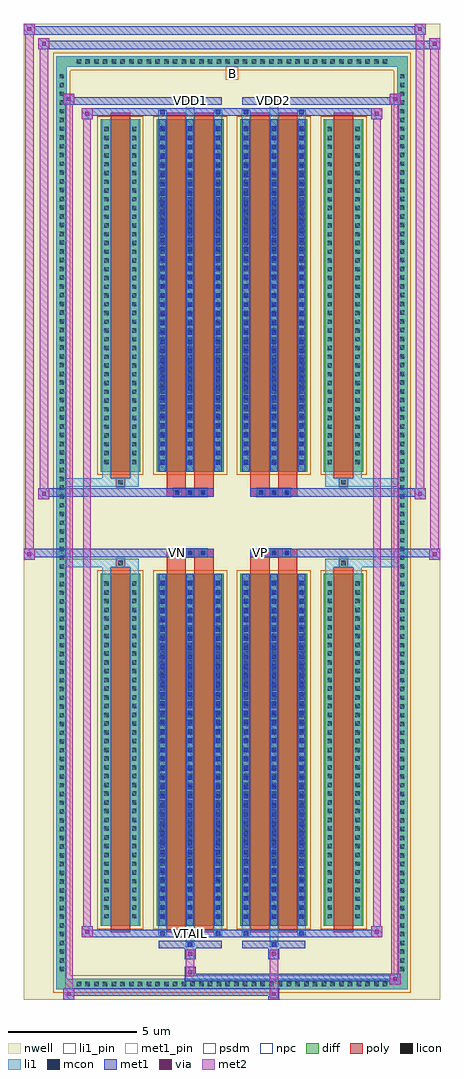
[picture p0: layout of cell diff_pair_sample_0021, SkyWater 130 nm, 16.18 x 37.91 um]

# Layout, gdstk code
import gdstk
lib = gdstk.Library(unit=1e-6, precision=5e-09)
def R(c, l, rs):  # rectangles x0, y0, x1, y1
    for r in rs: c.add(gdstk.rectangle(r[:2], r[2:], *l))
def A(c, l, x, y, w, h, nx, ny, dx, dy):  # array of equal rectangles
    R(c, l, [(x+i*dx, y+j*dy, x+i*dx+w, y+j*dy+h) for i in range(nx) for j in range(ny)])
def P(c, l, *ps):  # polygons
    for p in ps: c.add(gdstk.Polygon(p, *l))
nwell = (64, 20)
diff = (65, 20)
poly = (66, 20)
licon = (66, 44)
li1_pin = (67, 16)
li1 = (67, 20)
mcon = (67, 44)
met1_pin = (68, 16)
met1 = (68, 20)
via = (68, 44)
met2 = (69, 20)
psdm = (94, 20)
npc = (95, 20)

diff_pair_sample_0021 = lib.new_cell('diff_pair_sample_0021')
R(diff_pair_sample_0021, nwell, [(-8.09,-18.52,8.09,19.39), (-5.41,-16.71,-0.01,-0.805), (0.01,-16.71,5.41,-0.805), (-5.41,0.805,-0.01,16.71), (0.01,0.805,5.41,16.71)])
A(diff_pair_sample_0021, diff, -6.155, -18.12, 0.41, 0.41, 36, 2, 0.34, 35.83)
A(diff_pair_sample_0021, diff, -6.82, -17.545, 0.41, 0.41, 1, 103, 0, 0.34)
A(diff_pair_sample_0021, diff, 6.41, -17.545, 0.41, 0.41, 1, 103, 0, 0.34)
R(diff_pair_sample_0021, diff, [(-6.155,-18.12,6.155,-17.71), (-6.82,-17.545,-6.41,17.545), (6.41,-17.545,6.82,17.545), (-5.1,-15.665,-3.57,-1.985), (-2.93,-15.665,-0.32,-1.985), (0.32,-15.665,2.93,-1.985), (3.57,-15.665,5.1,-1.985), (-5.1,1.985,-3.57,15.665), (-2.93,1.985,-0.32,15.665), (0.32,1.985,2.93,15.665), (3.57,1.985,5.1,15.665), (-6.155,17.71,6.155,18.12)])
P(diff_pair_sample_0021, diff, [(6.82,18.12),(-6.82,18.12),(-6.82,-17.71),(-6.41,-17.71),(-6.41,17.71),(6.41,17.71),(6.41,-17.71),(-6.41,-17.71),(-6.82,-17.71),(-6.82,-18.12),(6.82,-18.12)])
A(diff_pair_sample_0021, poly, -2.29, -1.335, 0.33, 0.33, 3, 2, 0.5, 2.34)
A(diff_pair_sample_0021, poly, 0.96, -1.335, 0.33, 0.33, 3, 2, 0.5, 2.34)
R(diff_pair_sample_0021, poly, [(-4.71,-15.915,-3.96,-1.735), (-2.54,-15.915,-1.79,-1.735), (-1.46,-15.915,-0.71,-1.735), (0.71,-15.915,1.46,-1.735), (1.79,-15.915,2.54,-1.735), (3.96,-15.915,4.71,-1.735), (-4.5,-1.735,-4.17,-1.405), (-4.5,-1.735,-4.17,-1.405), (-2.54,-1.735,-1.79,-1.335), (-1.46,-1.735,-0.71,-1.335), (0.71,-1.735,1.46,-1.335), (1.79,-1.735,2.54,-1.335), (4.17,-1.735,4.5,-1.405), (4.17,-1.735,4.5,-1.405), (-2.54,-1.335,-0.71,-1.005), (0.71,-1.335,2.54,-1.005), (-2.54,1.005,-0.71,1.335), (0.71,1.005,2.54,1.335), (-2.54,1.335,-1.79,1.735), (-1.46,1.335,-0.71,1.735), (0.71,1.335,1.46,1.735), (1.79,1.335,2.54,1.735), (-4.5,1.405,-4.17,1.735), (-4.5,1.405,-4.17,1.735), (4.17,1.405,4.5,1.735), (4.17,1.405,4.5,1.735), (-4.71,1.735,-3.96,15.915), (-2.54,1.735,-1.79,15.915), (-1.46,1.735,-0.71,15.915), (0.71,1.735,1.46,15.915), (1.79,1.735,2.54,15.915), (3.96,1.735,4.71,15.915)])
A(diff_pair_sample_0021, licon, -6.035, -18, 0.17, 0.17, 36, 2, 0.34, 35.83)
A(diff_pair_sample_0021, licon, -6.7, -17.425, 0.17, 0.17, 1, 103, 0, 0.34)
A(diff_pair_sample_0021, licon, 6.53, -17.425, 0.17, 0.17, 1, 103, 0, 0.34)
A(diff_pair_sample_0021, licon, -4.96, -15.37, 0.17, 0.17, 1, 39, 0, 0.34)
A(diff_pair_sample_0021, licon, -3.88, -15.37, 0.17, 0.17, 1, 39, 0, 0.34)
A(diff_pair_sample_0021, licon, -2.79, -15.37, 0.17, 0.17, 3, 39, 1.08, 0.34)
A(diff_pair_sample_0021, licon, 0.46, -15.37, 0.17, 0.17, 3, 39, 1.08, 0.34)
A(diff_pair_sample_0021, licon, 3.71, -15.37, 0.17, 0.17, 1, 39, 0, 0.34)
A(diff_pair_sample_0021, licon, 4.79, -15.37, 0.17, 0.17, 1, 39, 0, 0.34)
A(diff_pair_sample_0021, licon, -2.21, -1.255, 0.17, 0.17, 3, 2, 0.5, 2.34)
A(diff_pair_sample_0021, licon, 1.04, -1.255, 0.17, 0.17, 3, 2, 0.5, 2.34)
A(diff_pair_sample_0021, licon, -4.96, 2.28, 0.17, 0.17, 1, 39, 0, 0.34)
A(diff_pair_sample_0021, licon, -3.88, 2.28, 0.17, 0.17, 1, 39, 0, 0.34)
A(diff_pair_sample_0021, licon, -2.79, 2.28, 0.17, 0.17, 3, 39, 1.08, 0.34)
A(diff_pair_sample_0021, licon, 0.46, 2.28, 0.17, 0.17, 3, 39, 1.08, 0.34)
A(diff_pair_sample_0021, licon, 3.71, 2.28, 0.17, 0.17, 1, 39, 0, 0.34)
A(diff_pair_sample_0021, licon, 4.79, 2.28, 0.17, 0.17, 1, 39, 0, 0.34)
R(diff_pair_sample_0021, licon, [(-4.42,-1.655,-4.25,-1.485), (4.25,-1.655,4.42,-1.485), (-4.42,1.485,-4.25,1.655), (4.25,1.485,4.42,1.655)])
R(diff_pair_sample_0021, li1_pin, [(-0.25,17.21,0.25,17.71)])
A(diff_pair_sample_0021, li1, -6.115, -18.08, 0.33, 0.33, 36, 2, 0.34, 35.83)
A(diff_pair_sample_0021, li1, -6.78, -17.505, 0.33, 0.33, 1, 103, 0, 0.34)
A(diff_pair_sample_0021, li1, 6.45, -17.505, 0.33, 0.33, 1, 103, 0, 0.34)
A(diff_pair_sample_0021, li1, -2.87, -15.665, 0.33, 13.68, 3, 2, 1.08, 17.65)
A(diff_pair_sample_0021, li1, 0.38, -15.665, 0.33, 13.68, 3, 2, 1.08, 17.65)
A(diff_pair_sample_0021, li1, -5.04, -15.45, 0.33, 0.33, 1, 39, 0, 0.34)
A(diff_pair_sample_0021, li1, -3.96, -15.45, 0.33, 0.33, 1, 39, 0, 0.34)
A(diff_pair_sample_0021, li1, -2.87, -15.45, 0.33, 0.33, 3, 39, 1.08, 0.34)
A(diff_pair_sample_0021, li1, 0.38, -15.45, 0.33, 0.33, 3, 39, 1.08, 0.34)
A(diff_pair_sample_0021, li1, 3.63, -15.45, 0.33, 0.33, 1, 39, 0, 0.34)
A(diff_pair_sample_0021, li1, 4.71, -15.45, 0.33, 0.33, 1, 39, 0, 0.34)
A(diff_pair_sample_0021, li1, -2.79, -15.39, 0.17, 0.17, 3, 37, 1.08, 0.36)
A(diff_pair_sample_0021, li1, -2.79, -15.39, 0.17, 13.13, 3, 2, 1.08, 17.65)
A(diff_pair_sample_0021, li1, 0.46, -15.39, 0.17, 0.17, 3, 37, 1.08, 0.36)
A(diff_pair_sample_0021, li1, 0.46, -15.39, 0.17, 13.13, 3, 2, 1.08, 17.65)
A(diff_pair_sample_0021, li1, -2.29, -1.335, 0.33, 0.33, 3, 2, 0.5, 2.34)
A(diff_pair_sample_0021, li1, 0.96, -1.335, 0.33, 0.33, 3, 2, 0.5, 2.34)
A(diff_pair_sample_0021, li1, -5.04, 2.2, 0.33, 0.33, 1, 39, 0, 0.34)
A(diff_pair_sample_0021, li1, -3.96, 2.2, 0.33, 0.33, 1, 39, 0, 0.34)
A(diff_pair_sample_0021, li1, -2.87, 2.2, 0.33, 0.33, 3, 39, 1.08, 0.34)
A(diff_pair_sample_0021, li1, 0.38, 2.2, 0.33, 0.33, 3, 39, 1.08, 0.34)
A(diff_pair_sample_0021, li1, 3.63, 2.2, 0.33, 0.33, 1, 39, 0, 0.34)
A(diff_pair_sample_0021, li1, 4.71, 2.2, 0.33, 0.33, 1, 39, 0, 0.34)
A(diff_pair_sample_0021, li1, -2.79, 2.26, 0.17, 0.17, 3, 37, 1.08, 0.36)
A(diff_pair_sample_0021, li1, 0.46, 2.26, 0.17, 0.17, 3, 37, 1.08, 0.36)
R(diff_pair_sample_0021, li1, [(-6.82,-18.12,-6.41,-17.71), (-6.82,-18.12,-6.41,-17.71), (-6.41,-18.12,6.41,-17.71), (6.41,-18.12,6.82,-17.71), (6.41,-18.12,6.82,-17.71), (-6.82,-17.71,-6.41,17.71), (6.41,-17.71,6.82,17.71), (-1.79,-16.47,-1.46,-15.665), (-1.71,-16.47,-1.54,-16.3), (1.46,-16.47,1.79,-15.665), (1.54,-16.47,1.71,-16.3), (-2.87,-16.04,-2.54,-15.665), (-2.79,-16.04,-2.62,-15.87), (-0.71,-16.04,-0.38,-15.665), (-0.63,-16.04,-0.46,-15.87), (0.38,-16.04,0.71,-15.665), (0.46,-16.04,0.63,-15.87), (2.54,-16.04,2.87,-15.665), (2.62,-16.04,2.79,-15.87), (-5.04,-15.665,-4.71,-1.985), (-3.96,-15.665,-3.63,-1.985), (3.63,-15.665,3.96,-1.985), (4.71,-15.665,5.04,-1.985), (-5.04,-1.985,-4.71,-1.405), (-3.96,-1.985,-3.63,-1.405), (3.63,-1.985,3.96,-1.405), (4.71,-1.985,5.04,-1.405), (-6.82,-1.735,-4.5,-1.405), (-5.04,-1.735,-4.5,-1.405), (-4.5,-1.735,-4.17,-1.405), (-4.17,-1.735,-3.63,-1.405), (3.63,-1.735,4.17,-1.405), (4.17,-1.735,4.5,-1.405), (4.17,-1.735,6.82,-1.405), (4.5,-1.735,5.04,-1.405), (-6.82,1.405,-4.5,1.735), (-5.04,1.405,-4.5,1.735), (-5.04,1.405,-4.71,1.985), (-4.5,1.405,-4.17,1.735), (-4.17,1.405,-3.63,1.735), (-3.96,1.405,-3.63,1.985), (3.63,1.405,4.17,1.735), (3.63,1.405,3.96,1.985), (4.17,1.405,4.5,1.735), (4.17,1.405,6.82,1.735), (4.5,1.405,5.04,1.735), (4.71,1.405,5.04,1.985), (-5.04,1.985,-4.71,15.665), (-3.96,1.985,-3.63,15.665), (3.63,1.985,3.96,15.665), (4.71,1.985,5.04,15.665), (-2.87,15.665,-2.54,16.04), (-1.79,15.665,-1.46,16.47), (-0.71,15.665,-0.38,16.04), (0.38,15.665,0.71,16.04), (1.46,15.665,1.79,16.47), (2.54,15.665,2.87,16.04), (-2.79,15.87,-2.62,16.04), (-0.63,15.87,-0.46,16.04), (0.46,15.87,0.63,16.04), (2.62,15.87,2.79,16.04), (-1.71,16.3,-1.54,16.47), (1.54,16.3,1.71,16.47), (-6.82,17.71,-6.41,18.12), (-6.82,17.71,-6.41,18.12), (-6.41,17.71,6.41,18.12), (6.41,17.71,6.82,18.12), (6.41,17.71,6.82,18.12)])
A(diff_pair_sample_0021, mcon, -2.79, -15.39, 0.17, 0.17, 3, 37, 1.08, 0.36)
A(diff_pair_sample_0021, mcon, 0.46, -15.39, 0.17, 0.17, 3, 37, 1.08, 0.36)
A(diff_pair_sample_0021, mcon, -2.21, -1.255, 0.17, 0.17, 3, 2, 0.5, 2.34)
A(diff_pair_sample_0021, mcon, 1.04, -1.255, 0.17, 0.17, 3, 2, 0.5, 2.34)
A(diff_pair_sample_0021, mcon, -2.79, 2.26, 0.17, 0.17, 3, 37, 1.08, 0.36)
A(diff_pair_sample_0021, mcon, 0.46, 2.26, 0.17, 0.17, 3, 37, 1.08, 0.36)
R(diff_pair_sample_0021, mcon, [(-1.71,-16.47,-1.54,-16.3), (1.54,-16.47,1.71,-16.3), (-2.79,-16.04,-2.62,-15.87), (-0.63,-16.04,-0.46,-15.87), (0.46,-16.04,0.63,-15.87), (2.62,-16.04,2.79,-15.87), (-2.79,15.87,-2.62,16.04), (-0.63,15.87,-0.46,16.04), (0.46,15.87,0.63,16.04), (2.62,15.87,2.79,16.04), (-1.71,16.3,-1.54,16.47), (1.54,16.3,1.71,16.47)])
R(diff_pair_sample_0021, met1_pin, [(-1.76,-16.08,-1.49,-15.81), (-2.26,-1.295,-1.99,-1.025), (0.99,-1.295,1.26,-1.025), (-1.76,16.26,-1.49,16.53), (1.49,16.26,1.76,16.53)])
A(diff_pair_sample_0021, met1, -2.85, -15.665, 0.29, 13.68, 3, 2, 1.08, 17.65)
A(diff_pair_sample_0021, met1, 0.4, -15.665, 0.29, 13.68, 3, 2, 1.08, 17.65)
A(diff_pair_sample_0021, met1, -2.85, -15.45, 0.29, 0.29, 3, 37, 1.08, 0.36)
A(diff_pair_sample_0021, met1, 0.4, -15.45, 0.29, 0.29, 3, 37, 1.08, 0.36)
A(diff_pair_sample_0021, met1, -2.27, -1.315, 0.29, 0.29, 3, 2, 0.5, 2.34)
A(diff_pair_sample_0021, met1, 0.98, -1.315, 0.29, 0.29, 3, 2, 0.5, 2.34)
A(diff_pair_sample_0021, met1, -2.85, 2.2, 0.29, 0.29, 3, 37, 1.08, 0.36)
A(diff_pair_sample_0021, met1, 0.4, 2.2, 0.29, 0.29, 3, 37, 1.08, 0.36)
R(diff_pair_sample_0021, met1, [(-6.55,-18.52,-6.12,-18.09), (1.41,-18.52,1.84,-18.09), (-6.55,-18.38,1.84,-18.09), (6.12,-17.95,6.55,-17.52), (-1.84,-17.81,6.55,-17.52), (-1.84,-17.67,-1.41,-17.24), (-1.84,-16.96,-1.41,-16.53), (1.41,-16.96,1.84,-16.53), (-2.85,-16.53,-0.4,-16.24), (-1.77,-16.53,-1.48,-16.24), (0.4,-16.53,2.85,-16.24), (1.48,-16.53,1.77,-16.24), (-5.84,-16.1,-5.41,-15.67), (-5.84,-16.1,-2.85,-15.81), (-2.85,-16.1,-2.56,-15.81), (-2.85,-16.1,-0.4,-15.81), (-0.69,-16.1,-0.4,-15.81), (-0.4,-16.1,0.4,-15.81), (0.4,-16.1,0.69,-15.81), (0.4,-16.1,2.85,-15.81), (2.56,-16.1,2.85,-15.81), (2.85,-16.1,5.84,-15.81), (5.41,-16.1,5.84,-15.67), (-8.09,-1.435,-7.66,-1.005), (7.66,-1.435,8.09,-1.005), (-8.09,-1.335,-0.71,-1.005), (-2.54,-1.335,-0.71,-1.005), (0.71,-1.335,2.54,-1.005), (0.71,-1.335,8.09,-1.005), (-7.52,0.905,-7.09,1.335), (7.09,0.905,7.52,1.335), (-7.52,1.005,-2.54,1.335), (-2.54,1.005,-0.71,1.335), (0.71,1.005,2.54,1.335), (2.54,1.005,7.52,1.335), (-5.84,15.67,-5.41,16.1), (5.41,15.67,5.84,16.1), (-5.84,15.81,-2.85,16.1), (-2.85,15.81,-2.56,16.1), (-2.85,15.81,-0.4,16.1), (-0.69,15.81,-0.4,16.1), (-0.4,15.81,0.4,16.1), (0.4,15.81,0.69,16.1), (0.4,15.81,2.85,16.1), (2.56,15.81,2.85,16.1), (2.85,15.81,5.84,16.1), (-6.55,16.24,-6.12,16.67), (-6.55,16.24,-2.85,16.53), (-2.85,16.24,-0.4,16.53), (-1.77,16.24,-1.48,16.53), (0.4,16.24,2.85,16.53), (1.48,16.24,1.77,16.53), (2.85,16.24,6.55,16.53), (6.12,16.24,6.55,16.67), (-7.52,18.39,-7.09,18.82), (-7.52,18.39,-5.41,18.72), (-5.41,18.39,5.41,18.72), (5.41,18.39,8.09,18.72), (7.66,18.39,8.09,18.82), (-8.09,18.96,-7.66,19.39), (-8.09,18.96,-5.41,19.29), (-5.41,18.96,5.41,19.29), (5.41,18.96,7.52,19.29), (7.09,18.96,7.52,19.39)])
R(diff_pair_sample_0021, via, [(-6.41,-18.38,-6.26,-18.23), (1.55,-18.38,1.7,-18.23), (6.26,-17.81,6.41,-17.66), (-1.7,-17.53,-1.55,-17.38), (-1.7,-16.82,-1.55,-16.67), (1.55,-16.82,1.7,-16.67), (-5.7,-15.96,-5.55,-15.81), (5.55,-15.96,5.7,-15.81), (-7.95,-1.295,-7.8,-1.145), (7.8,-1.295,7.95,-1.145), (-7.38,1.045,-7.23,1.195), (7.23,1.045,7.38,1.195), (-5.7,15.81,-5.55,15.96), (5.55,15.81,5.7,15.96), (-6.41,16.38,-6.26,16.53), (6.26,16.38,6.41,16.53), (-7.38,18.53,-7.23,18.68), (7.8,18.53,7.95,18.68), (-7.95,19.1,-7.8,19.25), (7.23,19.1,7.38,19.25)])
R(diff_pair_sample_0021, met2, [(-6.55,-18.52,-6.12,-18.09), (-6.48,-18.52,-6.19,16.67), (-6.19,-18.52,-6.12,-18.09), (-6.5,-18.47,-6.17,-18.14), (1.46,-18.47,1.79,-18.14), (1.46,-18.14,1.79,-16.91), (6.12,-17.95,6.55,-17.52), (6.19,-17.95,6.48,16.67), (6.48,-17.95,6.55,-17.52), (6.17,-17.9,6.5,-17.57), (-1.79,-17.62,-1.46,-17.29), (-1.79,-17.29,-1.46,-16.91), (-1.79,-16.91,-1.46,-16.58), (1.46,-16.91,1.79,-16.58), (-5.84,-16.1,-5.41,-15.67), (-5.77,-16.1,-5.48,16.1), (-5.48,-16.1,-5.41,-15.67), (5.41,-16.1,5.84,-15.67), (5.48,-16.1,5.77,16.1), (5.77,-16.1,5.84,-15.67), (-5.79,-16.05,-5.46,-15.72), (5.46,-16.05,5.79,-15.72), (-8.09,-1.435,-7.66,-1.005), (-8.04,-1.435,-7.71,19.39), (-7.71,-1.435,-7.66,-1.005), (7.66,-1.435,8.09,-1.005), (7.71,-1.435,8.04,18.82), (8.04,-1.435,8.09,-1.005), (-8.04,-1.385,-7.71,-1.055), (7.71,-1.385,8.04,-1.055), (-7.52,0.905,-7.09,1.335), (-7.47,0.905,-7.14,18.82), (-7.14,0.905,-7.09,1.335), (7.09,0.905,7.52,1.335), (7.14,0.905,7.47,19.39), (7.47,0.905,7.52,1.335), (-7.47,0.955,-7.14,1.285), (7.14,0.955,7.47,1.285), (-5.84,15.67,-5.41,16.1), (-5.48,15.67,-5.41,16.1), (5.41,15.67,5.84,16.1), (5.77,15.67,5.84,16.1), (-5.79,15.72,-5.46,16.05), (5.46,15.72,5.79,16.05), (-6.55,16.24,-6.12,16.67), (-6.19,16.24,-6.12,16.67), (6.12,16.24,6.55,16.67), (6.48,16.24,6.55,16.67), (-6.5,16.29,-6.17,16.62), (6.17,16.29,6.5,16.62), (-7.52,18.39,-7.09,18.82), (-7.14,18.39,-7.09,18.82), (7.66,18.39,8.09,18.82), (8.04,18.39,8.09,18.82), (-7.47,18.44,-7.14,18.77), (7.71,18.44,8.04,18.77), (-8.09,18.96,-7.66,19.39), (-7.71,18.96,-7.66,19.39), (7.09,18.96,7.52,19.39), (7.47,18.96,7.52,19.39), (-8.04,19.01,-7.71,19.34), (7.14,19.01,7.47,19.34)])
R(diff_pair_sample_0021, psdm, [(-5.23,-15.795,-3.44,-1.855), (-3.06,-15.795,-0.19,-1.855), (0.19,-15.795,3.06,-1.855), (3.44,-15.795,5.23,-1.855), (-5.23,1.855,-3.44,15.795), (-3.06,1.855,-0.19,15.795), (0.19,1.855,3.06,15.795), (3.44,1.855,5.23,15.795)])
P(diff_pair_sample_0021, psdm, [(6.95,18.25),(-6.95,18.25),(-6.95,-17.58),(-6.28,-17.58),(-6.28,17.58),(6.28,17.58),(6.28,-17.58),(-6.28,-17.58),(-6.95,-17.58),(-6.95,-18.25),(6.95,-18.25)])
A(diff_pair_sample_0021, npc, -2.31, -1.355, 0.37, 0.37, 3, 2, 0.5, 2.34)
A(diff_pair_sample_0021, npc, 0.94, -1.355, 0.37, 0.37, 3, 2, 0.5, 2.34)
R(diff_pair_sample_0021, npc, [(-4.52,-1.755,-4.15,-1.385), (4.15,-1.755,4.52,-1.385), (-2.31,-1.355,-1.44,-0.985), (-2.31,-1.355,-1.44,-0.985), (-1.81,-1.355,-0.94,-0.985), (-1.81,-1.355,-0.94,-0.985), (0.94,-1.355,1.81,-0.985), (0.94,-1.355,1.81,-0.985), (1.44,-1.355,2.31,-0.985), (1.44,-1.355,2.31,-0.985), (-2.31,0.985,-1.44,1.355), (-2.31,0.985,-1.44,1.355), (-1.81,0.985,-0.94,1.355), (-1.81,0.985,-0.94,1.355), (0.94,0.985,1.81,1.355), (0.94,0.985,1.81,1.355), (1.44,0.985,2.31,1.355), (1.44,0.985,2.31,1.355), (-4.52,1.385,-4.15,1.755), (4.15,1.385,4.52,1.755)])
diff_pair_sample_0021.add(gdstk.Label('VTAIL', (-1.625,-15.945), layer=68, texttype=5))
diff_pair_sample_0021.add(gdstk.Label('VN', (-2.125,-1.16), layer=68, texttype=5))
diff_pair_sample_0021.add(gdstk.Label('VP', (1.125,-1.16), layer=68, texttype=5))
diff_pair_sample_0021.add(gdstk.Label('B', (0,17.46), layer=67, texttype=5))
diff_pair_sample_0021.add(gdstk.Label('VDD2', (1.625,16.395), layer=68, texttype=5))
diff_pair_sample_0021.add(gdstk.Label('VDD1', (-1.625,16.395), layer=68, texttype=5))

lib.write_gds('diff_pair_sample_0021.gds')
